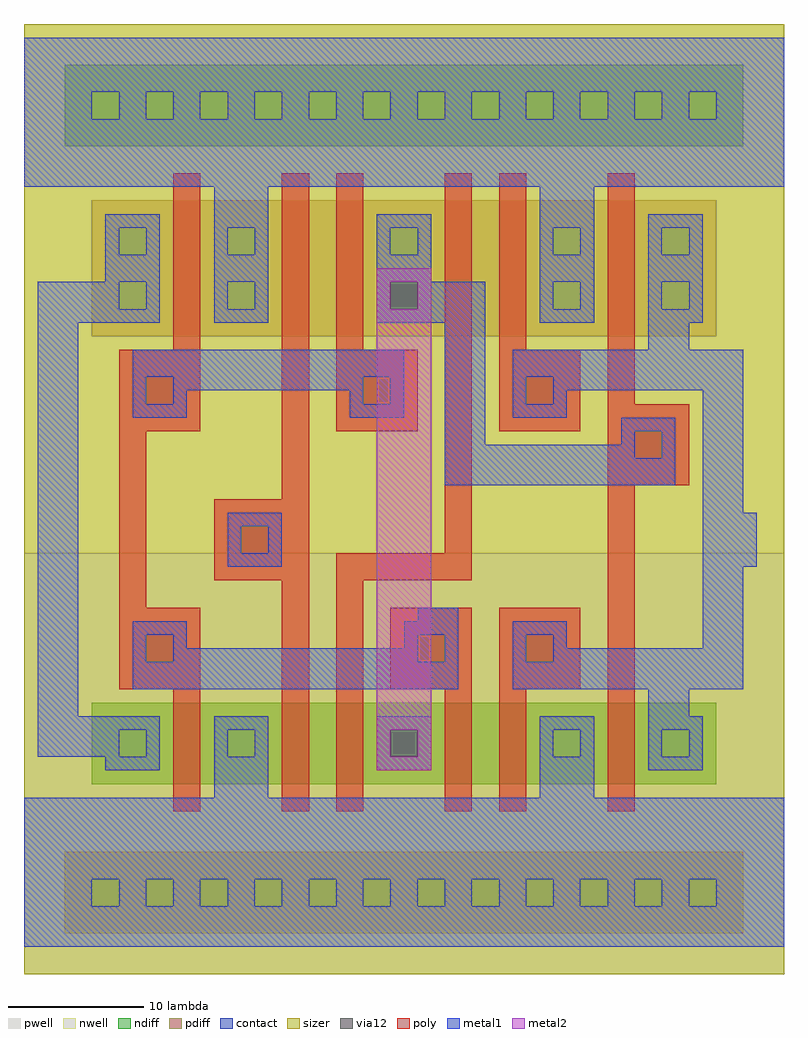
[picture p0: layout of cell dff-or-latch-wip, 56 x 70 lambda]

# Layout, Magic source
magic
tech LibreSilicon-test000-concept-mg-70-7
<< sizer >>
rect 0 0 56 70
<< metal2 >>
rect 26 51 30 52
rect 26 49 27 51
rect 29 49 30 51
rect 26 18 30 49
rect 26 16 27 18
rect 29 16 30 18
rect 26 15 30 16
<< via12 >>
rect 27 49 29 51
rect 27 16 29 18
<< metal1 >>
rect 0 65 56 69
rect 0 63 5 65
rect 7 63 9 65
rect 11 63 13 65
rect 15 63 17 65
rect 19 63 21 65
rect 23 63 25 65
rect 27 63 29 65
rect 31 63 33 65
rect 35 63 37 65
rect 39 63 41 65
rect 43 63 45 65
rect 47 63 49 65
rect 51 63 56 65
rect 0 58 56 63
rect 14 55 18 58
rect 38 55 42 58
rect 6 55 10 56
rect 26 55 30 56
rect 46 55 50 56
rect 6 53 7 55
rect 9 53 10 55
rect 14 53 15 55
rect 17 53 18 55
rect 26 53 27 55
rect 29 53 30 55
rect 38 53 39 55
rect 41 53 42 55
rect 46 53 47 55
rect 49 53 50 55
rect 6 51 10 53
rect 14 51 18 53
rect 26 51 30 53
rect 38 51 42 53
rect 46 51 50 53
rect 1 49 7 51
rect 9 49 10 51
rect 14 49 15 51
rect 17 49 18 51
rect 26 49 27 51
rect 29 49 34 51
rect 38 49 39 51
rect 41 49 42 51
rect 46 49 47 51
rect 49 49 50 51
rect 1 48 10 49
rect 14 48 18 49
rect 26 48 34 49
rect 38 48 42 49
rect 46 48 50 49
rect 1 19 4 48
rect 31 39 34 48
rect 46 46 49 48
rect 8 44 28 46
rect 36 44 53 46
rect 8 42 9 44
rect 11 43 25 44
rect 27 42 28 44
rect 36 42 37 44
rect 39 43 53 44
rect 11 42 12 43
rect 24 42 25 43
rect 39 42 40 43
rect 50 34 53 43
rect 8 41 12 42
rect 24 41 28 42
rect 36 41 40 42
rect 44 40 48 41
rect 44 39 45 40
rect 47 38 48 40
rect 31 38 45 39
rect 31 36 48 38
rect 15 33 19 34
rect 50 30 54 34
rect 15 31 16 33
rect 18 31 19 33
rect 15 30 19 31
rect 50 24 53 30
rect 29 26 32 27
rect 8 25 12 26
rect 28 25 32 26
rect 36 25 40 26
rect 8 23 9 25
rect 11 24 12 25
rect 28 24 29 25
rect 31 23 32 25
rect 36 23 37 25
rect 39 24 40 25
rect 11 23 29 24
rect 39 23 53 24
rect 8 21 32 23
rect 36 21 53 23
rect 46 19 49 21
rect 1 18 10 19
rect 14 18 18 19
rect 26 18 30 19
rect 38 18 42 19
rect 46 18 50 19
rect 1 16 7 18
rect 9 16 10 18
rect 14 16 15 18
rect 17 16 18 18
rect 26 16 27 18
rect 29 16 30 18
rect 38 16 39 18
rect 41 16 42 18
rect 46 16 47 18
rect 49 16 50 18
rect 6 15 10 16
rect 14 13 18 16
rect 26 15 30 16
rect 38 13 42 16
rect 46 15 50 16
rect 0 7 56 13
rect 0 5 5 7
rect 7 5 9 7
rect 11 5 13 7
rect 15 5 17 7
rect 19 5 21 7
rect 23 5 25 7
rect 27 5 29 7
rect 31 5 33 7
rect 35 5 37 7
rect 39 5 41 7
rect 43 5 45 7
rect 47 5 49 7
rect 51 5 56 7
rect 0 2 56 5
<< contact >>
rect 5 63 7 65
rect 9 63 11 65
rect 13 63 15 65
rect 17 63 19 65
rect 21 63 23 65
rect 25 63 27 65
rect 29 63 31 65
rect 33 63 35 65
rect 37 63 39 65
rect 41 63 43 65
rect 45 63 47 65
rect 49 63 51 65
rect 7 53 9 55
rect 15 53 17 55
rect 27 53 29 55
rect 39 53 41 55
rect 47 53 49 55
rect 7 49 9 51
rect 15 49 17 51
rect 27 49 29 51
rect 39 49 41 51
rect 47 49 49 51
rect 9 42 11 44
rect 25 42 27 44
rect 37 42 39 44
rect 45 38 47 40
rect 16 31 18 33
rect 9 23 11 25
rect 29 23 31 25
rect 37 23 39 25
rect 7 16 9 18
rect 15 16 17 18
rect 27 16 29 18
rect 39 16 41 18
rect 47 16 49 18
rect 5 5 7 7
rect 9 5 11 7
rect 13 5 15 7
rect 17 5 19 7
rect 21 5 23 7
rect 25 5 27 7
rect 29 5 31 7
rect 33 5 35 7
rect 37 5 39 7
rect 41 5 43 7
rect 45 5 47 7
rect 49 5 51 7
<< poly >>
rect 11 46 13 59
rect 19 35 21 59
rect 23 46 25 59
rect 31 31 33 59
rect 35 46 37 59
rect 43 42 45 59
rect 7 40 13 46
rect 23 40 29 46
rect 35 40 41 46
rect 43 36 49 42
rect 7 27 9 40
rect 43 12 45 36
rect 14 29 21 35
rect 23 29 33 31
rect 19 12 21 29
rect 23 12 25 29
rect 7 21 13 27
rect 27 21 33 27
rect 35 21 41 27
rect 11 12 13 21
rect 31 12 33 21
rect 35 12 37 21
<< ndiff >>
rect 3 61 53 67
rect 5 14 51 20
<< pdiff >>
rect 5 47 51 57
rect 3 3 53 9
<< nwell >>
rect 0 31 56 70
<< pwell >>
rect 0 0 56 31
<< end >>
